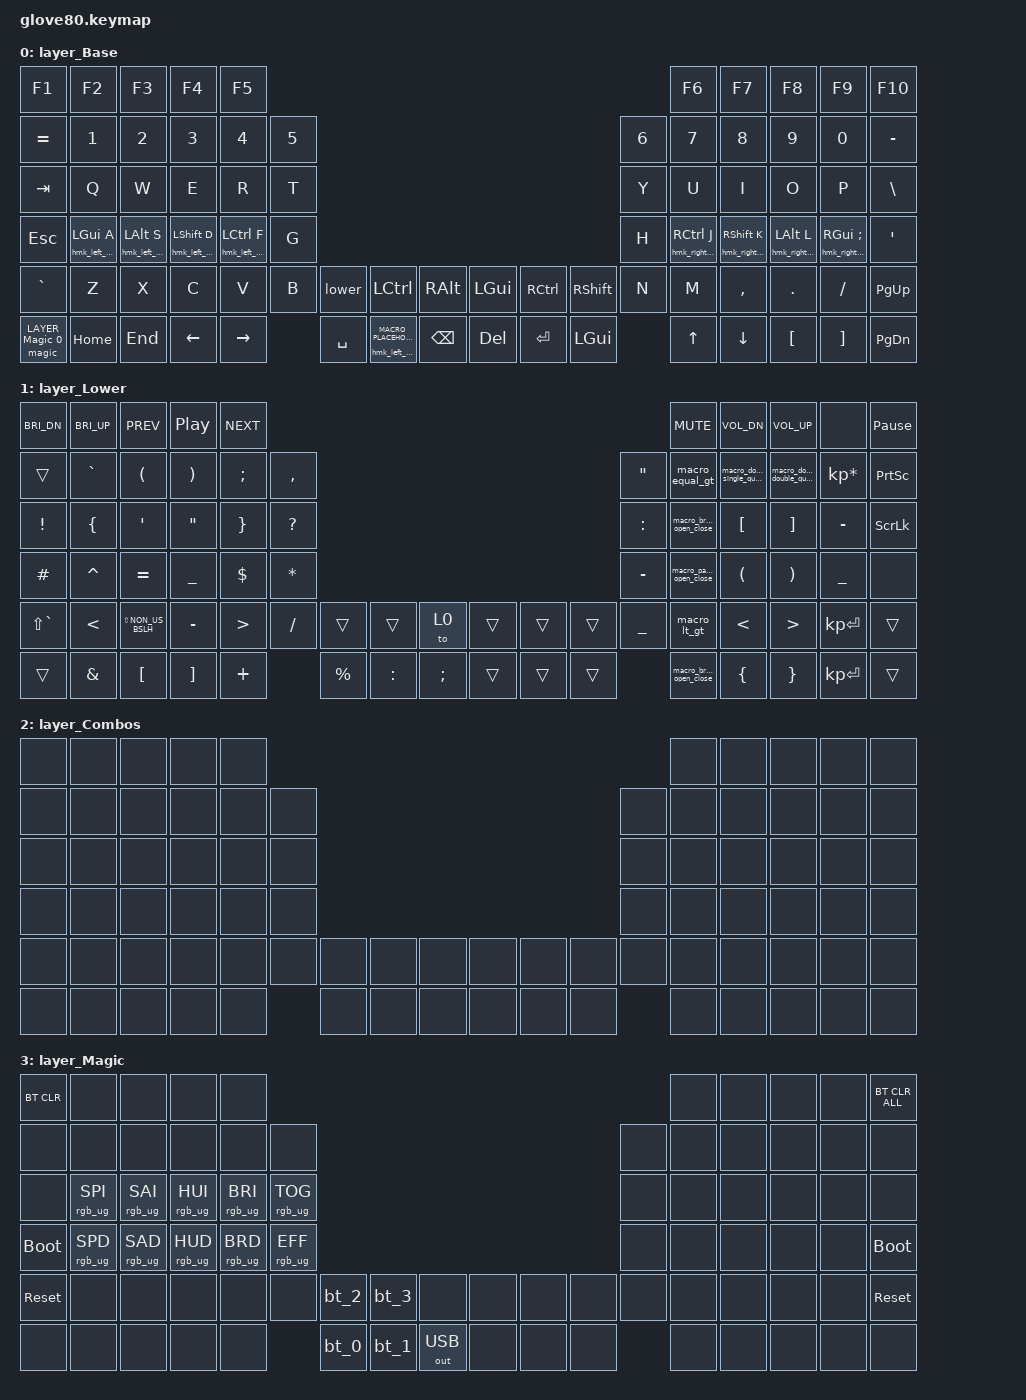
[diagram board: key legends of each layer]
/*
 * Copyright (c) 2020 The ZMK Contributors
 * Copyright (c) 2025 Innaworks Development Limited, trading as MoErgo
 *
 * SPDX-License-Identifier: MIT
 */


/* THIS FILE WAS GENERATED BY GLOVE80 LAYOUT EDITOR
 *
 * This file was generated automatically. You may or may not want to
 * edit it directly.
 */

#include <behaviors.dtsi>
/* Include all behavior includes needed */
#include <dt-bindings/zmk/outputs.h>

// Custom includes
#include "includes/behaviors.dtsi"
#include "includes/combos.dtsi"
#include "includes/macros.dtsi"
#include "includes/generated_behaviors.dtsi"
#include <dt-bindings/zmk/keys.h>
#include <dt-bindings/zmk/bt.h>
#include <dt-bindings/zmk/rgb.h>

/* On demand includes */


/* Helper Macros, based on https://github.com/urob/zmk-helpers/ */

#pragma once

#define ZMK_HELPER_STRINGIFY(x) #x

// Preprocessor mechanism to overload macros, cf. https://stackoverflow.com/a/27051616/6114651
#define VARGS_(_10, _9, _8, _7, _6, _5, _4, _3, _2, _1, N, ...) N
#define VARGS(...) VARGS_(__VA_ARGS__, 10, 9, 8, 7, 6, 5, 4, 3, 2, 1, 0)
#define CONCAT_(a, b) a##b
#define CONCAT(a, b) CONCAT_(a, b)

#define ZMK_BEHAVIOR_CORE_tap_dance  \
    compatible = "zmk,behavior-tap-dance"; \
    #binding-cells = <0>

#define ZMK_BEHAVIOR(name, type, ...) \
    name: name { \
        ZMK_BEHAVIOR_CORE_ ## type; \
        __VA_ARGS__ \
    };

#define ZMK_TAP_DANCE(name, ...) \
    ZMK_BEHAVIOR(name, tap_dance, __VA_ARGS__)

#define ZMK_TD_LAYER(name, layer) \
    ZMK_TAP_DANCE(name, \
        tapping-term-ms = <200>; \
        bindings = <&mo layer>, <&to layer>; \
)

/* Automatically generated layer name #define */
#define LAYER_Base 0
#define LAYER_Lower 1
#define LAYER_Combos 2
#define LAYER_Magic 3

/* To deal with the situation where there is no Lower layer, to keep &lower happy */
#ifndef LAYER_Lower
#define LAYER_Lower 0
#endif

/* Include key position definitions following Moergo convention */
#include "includes/key_positions.dtsi"

/* Bluetooth configuration - moved to includes/bluetooth.dtsi */
#include "includes/bluetooth.dtsi"

/* Automatically generated keymap */
/ {
    keymap {
        compatible = "zmk,keymap";


        layer_Base {
            bindings = <
               &kp F1                  &kp F2                 &kp F3                    &kp F4                   &kp F5                                                                                                                                               &kp F6                     &kp F7                  &kp F8                      &kp F9    &kp F10
            &kp EQUAL                  &kp N1                 &kp N2                    &kp N3                   &kp N4  &kp N5                                                                                                             &kp N6                    &kp N7                     &kp N8                  &kp N9                      &kp N0  &kp MINUS
              &kp TAB                   &kp Q                  &kp W                     &kp E                    &kp R   &kp T                                                                                                              &kp Y                     &kp U                      &kp I                   &kp O                       &kp P   &kp BSLH
              &kp ESC  &hmk_left_pinky LGUI A  &hmk_left_ring LALT S  &hmk_left_middle LSHFT D  &hmk_left_index LCTRL F   &kp G                                                                                                              &kp H  &hmk_right_index RCTRL J  &hmk_right_middle RSHFT K  &hmk_right_ring LALT L  &hmk_right_pinky RGUI SEMI    &kp SQT
            &kp GRAVE                   &kp Z                  &kp X                     &kp C                    &kp V   &kp B     &lower                                             &kp LCTRL  &kp RALT  &kp LGUI  &kp RCTRL  &kp RSHFT   &kp N                     &kp M                  &kp COMMA                 &kp DOT                    &kp FSLH  &kp PG_UP
   &magic LAYER_Magic 0                &kp HOME                &kp END                  &kp LEFT                &kp RIGHT          &kp SPACE  &hmk_left_thumb_middle_inner MACRO_PLACEHOLDER SPACE  &kp BSPC   &kp DEL    &kp RET   &kp LGUI                            &kp UP                   &kp DOWN                &kp LBKT                    &kp RBKT  &kp PG_DN
            >;
        };

        layer_Lower {
            bindings = <
  &kp C_BRI_DN  &kp C_BRI_UP           &kp C_PREV   &kp C_PP  &kp C_NEXT                                                                                                   &kp C_MUTE                 &kp C_VOL_DN                 &kp C_VOL_UP            &none  &kp PAUSE_BREAK
        &trans     &kp GRAVE             &kp LPAR   &kp RPAR    &kp SEMI  &kp COMMA                                                            &kp DQT                &macro_equal_gt  &macro_double_single_quotes  &macro_double_double_quotes  &kp KP_MULTIPLY  &kp PRINTSCREEN
      &kp EXCL      &kp LBRC              &kp SQT    &kp DQT    &kp RBRC  &kp QMARK                                                          &kp COLON      &macro_bracket_open_close                     &kp LBKT                     &kp RBKT        &kp MINUS   &kp SCROLLLOCK
      &kp HASH     &kp CARET            &kp EQUAL  &kp UNDER    &kp DLLR   &kp STAR                                                          &kp MINUS  &macro_parenthesis_open_close                     &kp LPAR                     &kp RPAR        &kp UNDER            &none
 &kp LS(GRAVE)        &kp LT  &kp LS(NON_US_BSLH)  &kp MINUS      &kp GT   &kp FSLH     &trans     &trans     &to 0  &trans  &trans  &trans  &kp UNDER                   &macro_lt_gt                       &kp LT                       &kp GT     &kp KP_ENTER           &trans
    &trans      &kp AMPS             &kp LBKT   &kp RBKT    &kp PLUS             &kp PRCNT  &kp COLON  &kp SEMI  &trans  &trans  &trans                   &macro_brace_open_close                     &kp LBRC                     &kp RBRC     &kp KP_ENTER           &trans
            >;
        };

        layer_Combos {
            bindings = <
  &none   &none   &none   &none   &none                                                                   &none   &none   &none   &none   &none
  &none   &none   &none   &none   &none   &none                                                   &none   &none   &none   &none   &none   &none
  &none   &none   &none   &none   &none   &none                                                   &none   &none   &none   &none   &none   &none
  &none   &none   &none   &none   &none   &none                                                   &none   &none   &none   &none   &none   &none
  &none   &none   &none   &none   &none   &none   &none   &none   &none   &none   &none   &none   &none   &none   &none   &none   &none   &none
  &none   &none   &none   &none   &none           &none   &none   &none   &none   &none   &none           &none   &none   &none   &none   &none
            >;
        };

        layer_Magic {
            bindings = <
  &bt BT_CLR            &none            &none            &none            &none                                                                                  &none   &none   &none   &none  &bt BT_CLR_ALL
       &none            &none            &none            &none            &none            &none                                                         &none   &none   &none   &none   &none           &none
       &none  &rgb_ug RGB_SPI  &rgb_ug RGB_SAI  &rgb_ug RGB_HUI  &rgb_ug RGB_BRI  &rgb_ug RGB_TOG                                                         &none   &none   &none   &none   &none           &none
 &bootloader  &rgb_ug RGB_SPD  &rgb_ug RGB_SAD  &rgb_ug RGB_HUD  &rgb_ug RGB_BRD  &rgb_ug RGB_EFF                                                         &none   &none   &none   &none   &none     &bootloader
  &sys_reset            &none            &none            &none            &none            &none   &bt_2   &bt_3         &none   &none   &none   &none   &none   &none   &none   &none   &none      &sys_reset
       &none            &none            &none            &none            &none                    &bt_0   &bt_1  &out OUT_USB   &none   &none   &none           &none   &none   &none   &none           &none
            >;
        };

    };
};
